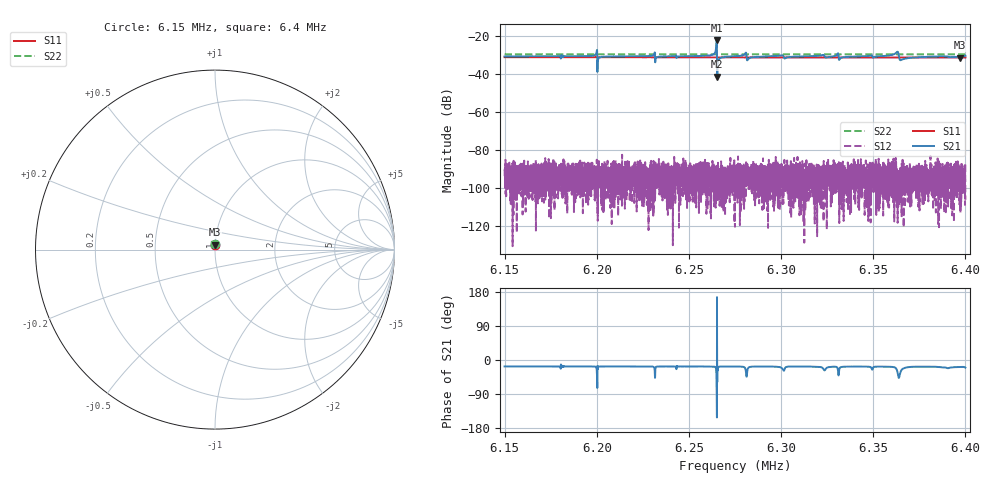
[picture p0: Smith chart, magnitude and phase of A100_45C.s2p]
!CETC41,AV3656A,ZGL00048,1.3.2
!Calibration ON (Full Solt 2-Port(Omit Isolation))
!Measurements: S11 S21 S12 S22
!2025-04-18 22:46
# Hz  S  dB  R 50.000
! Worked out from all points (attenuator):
!   6401 points, 6.15 MHz to 6.4 MHz, reference 50 ohm
!   highest |S21| = -22.27 dB at 6.2651 MHz (marker M1); lowest = -41.3 dB at 6.2653 MHz (marker M2)
!   lowest |S11| = -31.3 dB at 6.3971 MHz (marker M3), VSWR 1.06, Z = 49.9 + j2.73 ohm
!   |S11| at or under -10 dB: start of sweep to end of sweep
!   |S22| runs from -29.6 to -29.5 dB; largest |S21 - S12| = 0.077
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6150000  -31.06 84.5  -30.67 -16.9  -93.67 -37.3  -29.54 90.7
6191680  -31.09 85.5  -30.56 -17.0  -104.34 -45.6  -29.55 91.6
6198984  -31.10 85.7  -30.00 -17.3  -94.28 43.4  -29.55 91.8
6201523  -31.11 85.7  -31.20 -17.2  -94.62 9.5  -29.55 91.8
6233359  -31.13 86.5  -30.89 -17.2  -93.71 -117.3  -29.56 92.5
6260313  -31.15 87.1  -30.22 -17.2  -101.83 53.1  -29.55 93.1
6263945  -31.16 87.2  -29.03 -17.9  -94.09 -175.0  -29.56 93.1
6265078  -31.14 87.3  -22.27 -79.5  -90.33 0.7  -29.57 93.2
6265273  -31.15 87.2  -41.29 49.5  -89.86 51.4  -29.55 93.1
6266484  -31.15 87.3  -31.92 -17.6  -94.78 -126.9  -29.57 93.1
6268164  -31.16 87.4  -31.14 -17.3  -97.69 163.0  -29.56 93.2
6275000  -31.16 87.5  -30.59 -17.3  -96.73 126.3  -29.56 93.4
6280000  -31.17 87.6  -29.69 -18.9  -98.58 0.0  -29.57 93.4
6282578  -31.17 87.8  -31.70 -19.2  -93.10 131.6  -29.58 93.4
6316680  -31.20 88.5  -30.52 -17.5  -98.34 37.1  -29.58 94.2
6329922  -31.20 88.8  -30.12 -18.1  -99.03 53.1  -29.58 94.4
6332500  -31.21 88.8  -31.46 -18.7  -93.06 122.0  -29.57 94.5
6358359  -31.22 89.5  -30.23 -17.8  -92.80 34.1  -29.58 95.0
6362578  -31.24 89.5  -28.65 -23.5  -103.05 -51.6  -29.59 95.1
6365469  -31.24 89.7  -32.39 -25.6  -87.04 145.5  -29.58 95.1
6397070  -31.27 90.3  -30.83 -18.3  -89.36 85.5  -29.59 95.8
6400000  -31.27 90.5  -30.29 -20.1  -106.10 72.9  -29.59 95.8
